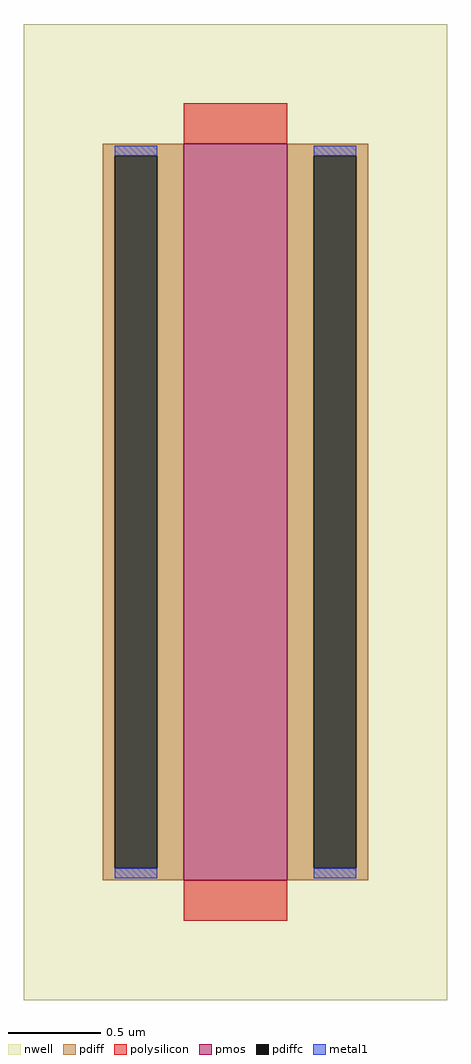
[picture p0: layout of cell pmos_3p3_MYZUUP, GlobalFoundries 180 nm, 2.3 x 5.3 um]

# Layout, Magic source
magic
tech gf180mcuC
magscale 1 10
<< nwell >>
rect -230 -530 230 530
<< pmos >>
rect -56 -400 56 400
<< pdiff >>
rect -144 387 -56 400
rect -144 -387 -131 387
rect -85 -387 -56 387
rect -144 -400 -56 -387
rect 56 387 144 400
rect 56 -387 85 387
rect 131 -387 144 387
rect 56 -400 144 -387
<< pdiffc >>
rect -131 -387 -85 387
rect 85 -387 131 387
<< polysilicon >>
rect -56 400 56 444
rect -56 -444 56 -400
<< metal1 >>
rect -131 387 -85 398
rect -131 -398 -85 -387
rect 85 387 131 398
rect 85 -398 131 -387
<< properties >>
string gencell pmos_3p3
string library gf180mcu
string parameters w 4 l 0.560 m 1 nf 1 diffcov 100 polycov 100 guard 0 glc 0 grc 0 gtc 0 gbc 0 tbcov 100 rlcov 100 topc 0 botc 0 poverlap 0 doverlap 1 lmin 0.28 wmin 0.22 full_metal 0 compatible {pmos_3p3 pmos_6p0}
<< end >>
